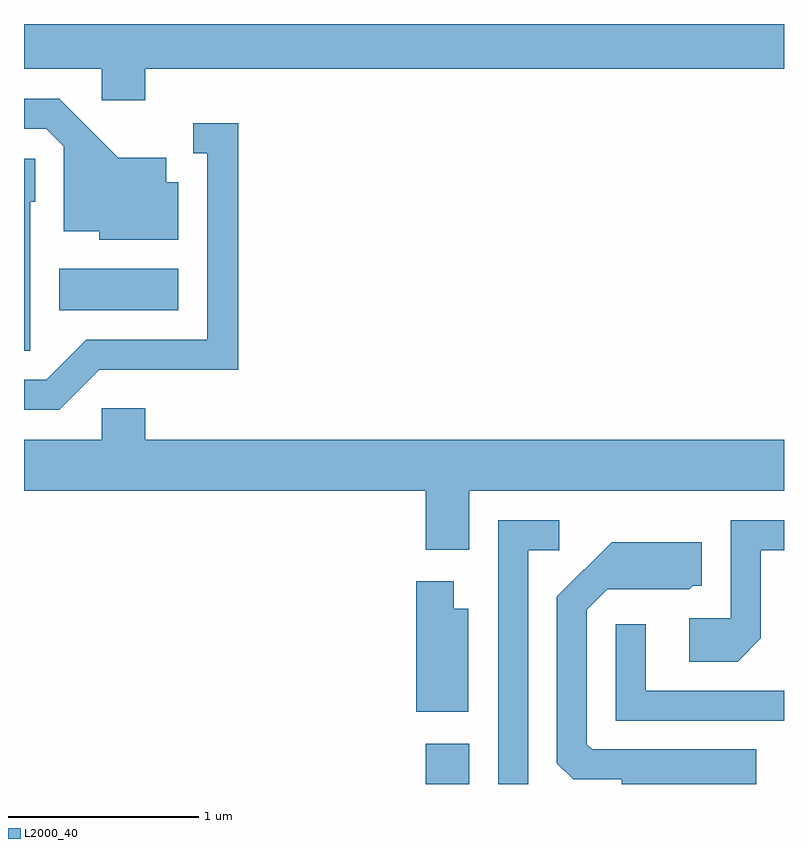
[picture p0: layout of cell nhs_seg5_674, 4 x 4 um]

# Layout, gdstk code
import gdstk
lib = gdstk.Library(unit=1e-6, precision=1e-09)
def R(c, l, rs):  # rectangles x0, y0, x1, y1
    for r in rs: c.add(gdstk.rectangle(r[:2], r[2:], *l))
def P(c, l, *ps):  # polygons
    for p in ps: c.add(gdstk.Polygon(p, *l))
L2000_40 = (2000, 40)

nhs_seg5_674 = lib.new_cell('nhs_seg5_674')
R(nhs_seg5_674, L2000_40, [(205.726,1524.072,205.954,1524.284), (203.796,1526.566,204.424,1526.784)])
P(nhs_seg5_674, L2000_40, [(204.249,1527.836),(207.611,1527.836),(207.611,1528.072),(203.611,1528.072),(203.611,1527.836),(204.021,1527.836),(204.021,1527.671),(204.249,1527.671)],
  [(204.424,1527.239),(204.359,1527.239),(204.359,1527.369),(204.107,1527.369),(203.797,1527.679),(203.611,1527.679),(203.611,1527.521),(203.729,1527.521),(203.821,1527.429),(203.821,1526.981),(204.006,1526.981),(204.006,1526.936),(204.424,1526.936)],
  [(204.007,1526.251),(204.739,1526.251),(204.739,1527.549),(204.503,1527.549),(204.503,1527.391),(204.576,1527.391),(204.576,1526.409),(203.939,1526.409),(203.729,1526.199),(203.611,1526.199),(203.611,1526.041),(203.797,1526.041)],
  [(203.644,1527.136),(203.669,1527.136),(203.669,1527.364),(203.611,1527.364),(203.611,1526.351),(203.644,1526.351)],
  [(205.954,1525.616),(207.611,1525.616),(207.611,1525.884),(204.249,1525.884),(204.249,1526.049),(204.021,1526.049),(204.021,1525.884),(203.611,1525.884),(203.611,1525.616),(205.726,1525.616),(205.726,1525.306),(205.954,1525.306)],
  [(207.489,1524.839),(207.489,1525.301),(207.611,1525.301),(207.611,1525.459),(207.331,1525.459),(207.331,1524.944),(207.111,1524.944),(207.111,1524.716),(207.367,1524.716)],
  [(206.264,1525.301),(206.428,1525.301),(206.428,1525.459),(206.106,1525.459),(206.106,1524.072),(206.264,1524.072)],
  [(207.464,1524.254),(206.602,1524.254),(206.574,1524.282),(206.574,1524.989),(206.682,1525.096),(207.112,1525.096),(207.132,1525.116),(207.179,1525.116),(207.179,1525.344),(206.704,1525.344),(206.416,1525.057),(206.416,1524.182),(206.502,1524.096),(206.756,1524.096),(206.756,1524.072),(207.464,1524.072)],
  [(205.949,1524.994),(205.874,1524.994),(205.874,1525.139),(205.676,1525.139),(205.676,1524.451),(205.949,1524.451)],
  [(207.611,1524.564),(206.884,1524.564),(206.884,1524.913),(206.726,1524.913),(206.726,1524.406),(207.611,1524.406)])

lib.write_gds('nhs_seg5_674.gds')
